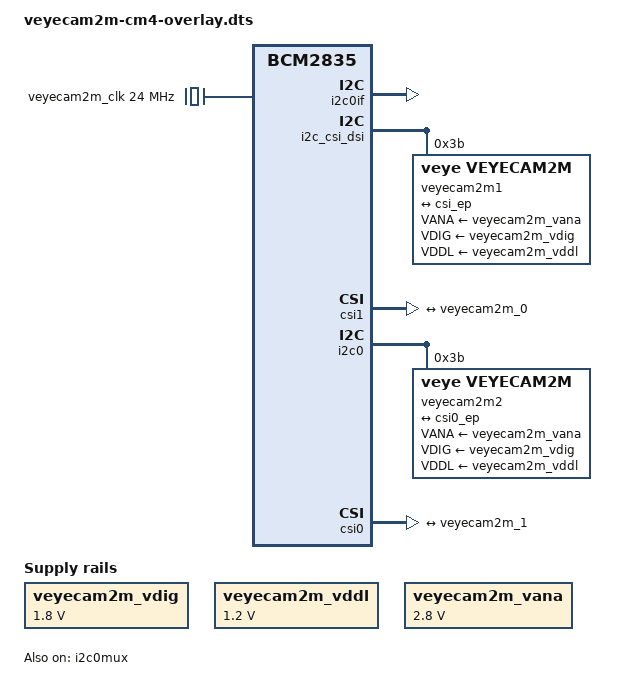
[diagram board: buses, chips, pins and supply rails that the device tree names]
// SPDX-License-Identifier: GPL-2.0-only
// Definitions for VEYECAM2M camera module on VC I2C bus
/dts-v1/;
/plugin/;

/{
	compatible = "brcm,bcm2835";
	fragment@0 {
		target = <&i2c0if>;
		__overlay__ {
			status = "okay";
		};
	};

	fragment@2 {
		target = <&i2c0mux>;
		__overlay__ {
			status = "okay";
		};
	};
	i2c_frag1: fragment@100 {
		target = <&i2c_csi_dsi>;
		__overlay__ {
			#address-cells = <1>;
			#size-cells = <0>;
			status = "okay";

			veyecam2m1: veyecam2m@3b {
				compatible = "veye,veyecam2m";
				reg = <0x3b>;
				status = "okay";

                clocks = <&veyecam2m_clk>;
				clock-names = "xclk";
				VANA-supply = <&veyecam2m_vana>;	/* 2.8v */
				VDIG-supply = <&veyecam2m_vdig>;	/* 1.8v */
				VDDL-supply = <&veyecam2m_vddl>;	/* 1.2v */
				rotation = <0>;

				port {
					veyecam2m_0: endpoint {
						remote-endpoint = <&csi_ep>;
						clock-lanes = <0>;
						data-lanes = <1 2>;
						clock-noncontinuous;
						link-frequencies =
							/bits/ 64 <297000000>;
					};
				};
			};
		};
	};

	csi_frag1: fragment@101 {
		target = <&csi1>;
		__overlay__ {
			status = "okay";

			port {
				csi_ep: endpoint {
					remote-endpoint = <&veyecam2m_0>;
					clock-lanes = <0>;
					data-lanes = <1 2>;
					clock-noncontinuous;
				};
			};
		};
	};
	i2c_frag2: fragment@102 {
		target = <&i2c0>;
		__overlay__ {
			#address-cells = <1>;
			#size-cells = <0>;
			status = "okay";

			veyecam2m2: veyecam2m@3b {
				compatible = "veye,veyecam2m";
				reg = <0x3b>;
				status = "okay";
                clocks = <&veyecam2m_clk>;
				clock-names = "xclk";
				VANA-supply = <&veyecam2m_vana>;	/* 2.8v */
				VDIG-supply = <&veyecam2m_vdig>;	/* 1.8v */
				VDDL-supply = <&veyecam2m_vddl>;	/* 1.2v */
				rotation = <0>;

				port {
					veyecam2m_1: endpoint {
						remote-endpoint = <&csi0_ep>;
						clock-lanes = <0>;
						data-lanes = <1 2>;
						clock-noncontinuous;
						link-frequencies =
							/bits/ 64 <297000000>;
					};
				};
			};
		};
	};

	csi_frag2: fragment@103 {
		target = <&csi0>;
		__overlay__ {
			status = "okay";

			port {
				csi0_ep: endpoint {
					remote-endpoint = <&veyecam2m_1>;
					clock-lanes = <0>;
					data-lanes = <1 2>;
					clock-noncontinuous;
				};
			};
		};
	};

fragment@104 {
			target-path="/";
			__overlay__ {

				veyecam2m_vdig: fixedregulator@1 {
					compatible = "regulator-fixed";
					regulator-name = "veyecam2m_vdig";
					regulator-min-microvolt = <1800000>;
					regulator-max-microvolt = <1800000>;
				};
				veyecam2m_vddl: fixedregulator@2 {
					compatible = "regulator-fixed";
					regulator-name = "veyecam2m_vddl";
					regulator-min-microvolt = <1200000>;
					regulator-max-microvolt = <1200000>;
				};
                veyecam2m_vana: fixedregulator@3 {
					compatible = "regulator-fixed";
					regulator-name = "veyecam2m_vana";
					regulator-min-microvolt = <2800000>;
					regulator-max-microvolt = <2800000>;
				};
				veyecam2m_clk: camera-clk {
					compatible = "fixed-clock";
					#clock-cells = <0>;
					clock-frequency = <24000000>;
				};
			};
		};

	__overrides__ {

		cam0 = <&i2c_frag1>, "target:0=",<&i2c_vc>,
		       <&csi_frag1>, "target:0=",<&csi0>;

        cam1 = <&i2c_frag2>, "target:0=",<&i2c_arm>,
		       <&csi_frag2>, "target:0=",<&csi1>;

	};
};
